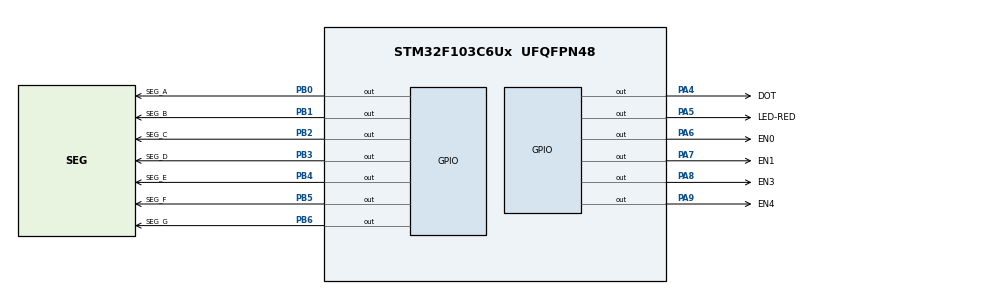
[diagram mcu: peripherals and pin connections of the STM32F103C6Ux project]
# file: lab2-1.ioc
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Mcu.Family=STM32F1
Mcu.Name=STM32F103C6Ux
Mcu.Package=UFQFPN48
NVIC.PriorityGroup=NVIC_PRIORITYGROUP_4
NVIC.TIM2_IRQn=true\:0\:0\:false\:false\:true\:true\:true
PA4.GPIO_Label=DOT
PA4.Signal=GPIO_Output
PA5.GPIO_Label=LED-RED
PA5.Signal=GPIO_Output
PA6.GPIO_Label=EN0
PA6.Signal=GPIO_Output
PA7.GPIO_Label=EN1
PA7.Signal=GPIO_Output
PA8.GPIO_Label=EN3
PA8.Signal=GPIO_Output
PA9.GPIO_Label=EN4
PA9.Signal=GPIO_Output
PB0.GPIO_Label=SEG_A
PB0.Signal=GPIO_Output
PB1.GPIO_Label=SEG_B
PB1.Signal=GPIO_Output
PB2.GPIO_Label=SEG_C
PB2.Signal=GPIO_Output
PB3.GPIO_Label=SEG_D
PB3.Signal=GPIO_Output
PB4.GPIO_Label=SEG_E
PB4.Signal=GPIO_Output
PB5.GPIO_Label=SEG_F
PB5.Signal=GPIO_Output
PB6.GPIO_Label=SEG_G
PB6.Signal=GPIO_Output
ProjectManager.HeapSize=0x200
ProjectManager.StackSize=0x400
ProjectManager.TargetToolchain=STM32CubeIDE
RCC.APB1Freq_Value=8000000
RCC.APB2Freq_Value=8000000
TIM2.Period=9
TIM2.Prescaler=7999
VP_SYS_VS_ND.Mode=No_Debug
VP_TIM2_VS_ClockSourceINT.Mode=Internal
board=custom

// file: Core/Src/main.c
/* USER CODE BEGIN Header */
/**
  ******************************************************************************
  * @file           : main.c
  * @brief          : Lab 2 - Exercise 1
  *
  * D1: PA5, active LOW, always ON
  * EN0: PA6, EN1: PA7, active LOW through PNP
  * Segments a-g: PB0-PB6, common anode
  * Left display: 1, right display: 2
  * Switching interval: 500 ms
  * TIM2 interrupt period: 10 ms
  ******************************************************************************
  * @attention
  *
  * <h2><center>&copy; Copyright (c) 2026 STMicroelectronics.
  * All rights reserved.</center></h2>
  *
  * This software component is licensed by ST under BSD 3-Clause license,
  * the "License"; You may not use this file except in compliance with the
  * License. You may obtain a copy of the License at:
  *                        opensource.org/licenses/BSD-3-Clause
  *
  ******************************************************************************
  */
/* USER CODE END Header */

#include "main.h"

/* USER CODE BEGIN PD */

#define STATUS_LED_PIN       GPIO_PIN_5

#define EN0_PIN              GPIO_PIN_6
#define EN1_PIN              GPIO_PIN_7

#define ENABLE_PINS          (EN0_PIN | EN1_PIN)

#define SEGMENT_PINS         (GPIO_PIN_0 | GPIO_PIN_1 | \
                              GPIO_PIN_2 | GPIO_PIN_3 | \
                              GPIO_PIN_4 | GPIO_PIN_5 | \
                              GPIO_PIN_6)

#define TIMER_CYCLE_MS       10U
#define SWITCH_PERIOD_MS     500U
#define SWITCH_TICKS         (SWITCH_PERIOD_MS / TIMER_CYCLE_MS)

/* USER CODE END PD */

TIM_HandleTypeDef htim2;

/* USER CODE BEGIN PV */

/* Bit 0 = a, bit 1 = b, ..., bit 6 = g */
static const uint8_t digitPattern[10] =
{
  0x3F, /* 0 */
  0x06, /* 1 */
  0x5B, /* 2 */
  0x4F, /* 3 */
  0x66, /* 4 */
  0x6D, /* 5 */
  0x7D, /* 6 */
  0x07, /* 7 */
  0x7F, /* 8 */
  0x6F  /* 9 */
};

static uint16_t scanCounter = SWITCH_TICKS;

/* Left digit is shown first; right digit is next */
static uint8_t nextDigit = 1U;

/* USER CODE END PV */

void SystemClock_Config(void);
static void MX_GPIO_Init(void);
static void MX_TIM2_Init(void);

/* USER CODE BEGIN PFP */

void display7SEG(int num);

/* USER CODE END PFP */

/* USER CODE BEGIN 0 */

void display7SEG(int num)
{
  /* Common anode: HIGH turns all segments OFF */
  HAL_GPIO_WritePin(GPIOB,
                   SEGMENT_PINS,
                   GPIO_PIN_SET);

  if (num < 0 || num > 9)
  {
    return;
  }

  /* Pull the required segment cathodes LOW */
  HAL_GPIO_WritePin(GPIOB,
                   (uint16_t)digitPattern[num],
                   GPIO_PIN_RESET);
}

/* USER CODE END 0 */

int main(void)
{

  /* MCU Configuration--------------------------------------------------------*/

  HAL_Init();

  SystemClock_Config();

  /* USER CODE BEGIN SysInit */

  /* Release PB3/PB4 from JTAG; retain SWD */
  __HAL_RCC_AFIO_CLK_ENABLE();
  __HAL_AFIO_REMAP_SWJ_NOJTAG();

  /* USER CODE END SysInit */

  /* Initialize all configured peripherals */
  MX_GPIO_Init();
  MX_TIM2_Init();

  /* USER CODE BEGIN 2 */

  /* Keep D1 ON: PA5 is active LOW */
  HAL_GPIO_WritePin(GPIOA,
                   STATUS_LED_PIN,
                   GPIO_PIN_RESET);

  /* Disable both digits before setting the initial pattern */
  HAL_GPIO_WritePin(GPIOA,
                   ENABLE_PINS,
                   GPIO_PIN_SET);

  /* Initially display 1 on the left digit */
  display7SEG(1);

  HAL_GPIO_WritePin(GPIOA,
                   EN0_PIN,
                   GPIO_PIN_RESET);

  nextDigit = 1U;
  scanCounter = SWITCH_TICKS;

  /* Start TIM2 without a pending update event */
  __HAL_TIM_SET_COUNTER(&htim2, 0U);
  __HAL_TIM_CLEAR_FLAG(&htim2, TIM_FLAG_UPDATE);

  if (HAL_TIM_Base_Start_IT(&htim2) != HAL_OK)
  {
    Error_Handler();
  }

  /* USER CODE END 2 */

  /* Infinite loop */
  while (1)
  {

    /* USER CODE BEGIN 3 */

    /* Exercise 1: display scanning is handled by TIM2 interrupt. */
  }
  /* USER CODE END 3 */
}

void SystemClock_Config(void)
{
  RCC_OscInitTypeDef RCC_OscInitStruct = {0};
  RCC_ClkInitTypeDef RCC_ClkInitStruct = {0};

  /** Initializes the RCC Oscillators
  */
  RCC_OscInitStruct.OscillatorType = RCC_OSCILLATORTYPE_HSI;
  RCC_OscInitStruct.HSIState = RCC_HSI_ON;
  RCC_OscInitStruct.HSICalibrationValue =
      RCC_HSICALIBRATION_DEFAULT;
  RCC_OscInitStruct.PLL.PLLState = RCC_PLL_NONE;

  if (HAL_RCC_OscConfig(&RCC_OscInitStruct) != HAL_OK)
  {
    Error_Handler();
  }

  /** Initializes the CPU, AHB and APB buses clocks
  */
  RCC_ClkInitStruct.ClockType =
      RCC_CLOCKTYPE_HCLK |
      RCC_CLOCKTYPE_SYSCLK |
      RCC_CLOCKTYPE_PCLK1 |
      RCC_CLOCKTYPE_PCLK2;

  RCC_ClkInitStruct.SYSCLKSource = RCC_SYSCLKSOURCE_HSI;
  RCC_ClkInitStruct.AHBCLKDivider = RCC_SYSCLK_DIV1;
  RCC_ClkInitStruct.APB1CLKDivider = RCC_HCLK_DIV1;
  RCC_ClkInitStruct.APB2CLKDivider = RCC_HCLK_DIV1;

  if (HAL_RCC_ClockConfig(&RCC_ClkInitStruct,
                         FLASH_LATENCY_0) != HAL_OK)
  {
    Error_Handler();
  }
}

static void MX_TIM2_Init(void)
{

  TIM_ClockConfigTypeDef sClockSourceConfig = {0};
  TIM_MasterConfigTypeDef sMasterConfig = {0};

  /*
   * Timer clock: 8 MHz
   * 8 MHz / (7999 + 1) / (9 + 1) = 100 Hz
   * Interrupt period = 10 ms
   */
  htim2.Instance = TIM2;
  htim2.Init.Prescaler = 7999;
  htim2.Init.CounterMode = TIM_COUNTERMODE_UP;
  htim2.Init.Period = 9;
  htim2.Init.ClockDivision = TIM_CLOCKDIVISION_DIV1;
  htim2.Init.AutoReloadPreload = TIM_AUTORELOAD_PRELOAD_DISABLE;

  if (HAL_TIM_Base_Init(&htim2) != HAL_OK)
  {
    Error_Handler();
  }

  sClockSourceConfig.ClockSource = TIM_CLOCKSOURCE_INTERNAL;

  if (HAL_TIM_ConfigClockSource(&htim2,
                               &sClockSourceConfig) != HAL_OK)
  {
    Error_Handler();
  }

  sMasterConfig.MasterOutputTrigger = TIM_TRGO_RESET;
  sMasterConfig.MasterSlaveMode = TIM_MASTERSLAVEMODE_DISABLE;

  if (HAL_TIMEx_MasterConfigSynchronization(
          &htim2, &sMasterConfig) != HAL_OK)
  {
    Error_Handler();
  }

}

static void MX_GPIO_Init(void)
{
  GPIO_InitTypeDef GPIO_InitStruct = {0};

  /* GPIO Ports Clock Enable */
  __HAL_RCC_GPIOA_CLK_ENABLE();
  __HAL_RCC_GPIOB_CLK_ENABLE();

  /* Digit enables: HIGH = OFF */
  HAL_GPIO_WritePin(GPIOA,
                   ENABLE_PINS,
                   GPIO_PIN_SET);

  /* D1: LOW = ON */
  HAL_GPIO_WritePin(GPIOA,
                   STATUS_LED_PIN,
                   GPIO_PIN_RESET);

  /* Segment cathodes: HIGH = OFF */
  HAL_GPIO_WritePin(GPIOB,
                   SEGMENT_PINS,
                   GPIO_PIN_SET);

  /* PA5: D1; PA6/PA7: digit enables */
  GPIO_InitStruct.Pin = STATUS_LED_PIN | ENABLE_PINS;
  GPIO_InitStruct.Mode = GPIO_MODE_OUTPUT_PP;
  GPIO_InitStruct.Pull = GPIO_NOPULL;
  GPIO_InitStruct.Speed = GPIO_SPEED_FREQ_LOW;
  HAL_GPIO_Init(GPIOA, &GPIO_InitStruct);

  /* PB0-PB6: segment a-g outputs */
  GPIO_InitStruct.Pin = SEGMENT_PINS;
  GPIO_InitStruct.Mode = GPIO_MODE_OUTPUT_PP;
  GPIO_InitStruct.Pull = GPIO_NOPULL;
  GPIO_InitStruct.Speed = GPIO_SPEED_FREQ_LOW;
  HAL_GPIO_Init(GPIOB, &GPIO_InitStruct);
}

/* USER CODE BEGIN 4 */

void HAL_TIM_PeriodElapsedCallback(TIM_HandleTypeDef *htim)
{
  if (htim->Instance != TIM2)
  {
    return;
  }

  /* One callback every 10 ms */
  if (scanCounter > 0U)
  {
    scanCounter--;
  }

  /* Switch digit after 50 interrupts = 500 ms */
  if (scanCounter == 0U)
  {
    scanCounter = SWITCH_TICKS;

    /* Blank both digits before changing segment data */
    HAL_GPIO_WritePin(GPIOA,
                     ENABLE_PINS,
                     GPIO_PIN_SET);

    if (nextDigit == 0U)
    {
      /* Left digit displays 1 */
      display7SEG(1);

      HAL_GPIO_WritePin(GPIOA,
                       EN0_PIN,
                       GPIO_PIN_RESET);

      nextDigit = 1U;
    }
    else
    {
      /* Right digit displays 2 */
      display7SEG(2);

      HAL_GPIO_WritePin(GPIOA,
                       EN1_PIN,
                       GPIO_PIN_RESET);

      nextDigit = 0U;
    }
  }

  /* D1 is not toggled, so it stays ON */
}

/* USER CODE END 4 */

void Error_Handler(void)
{
  __disable_irq();
  while (1)
  {
  }
}

#ifdef USE_FULL_ASSERT
/**
  * @brief  Reports the source file and line of an assert error.
  * @param  file: pointer to the source file name
  * @param  line: assert error line source number
  * @retval None
  */
void assert_failed(uint8_t *file, uint32_t line)
{
  /* USER CODE BEGIN 6 */

  (void)file;
  (void)line;

  /* USER CODE END 6 */
}
#endif /* USE_FULL_ASSERT */

/************************ (C) COPYRIGHT STMicroelectronics *****END OF FILE****/
